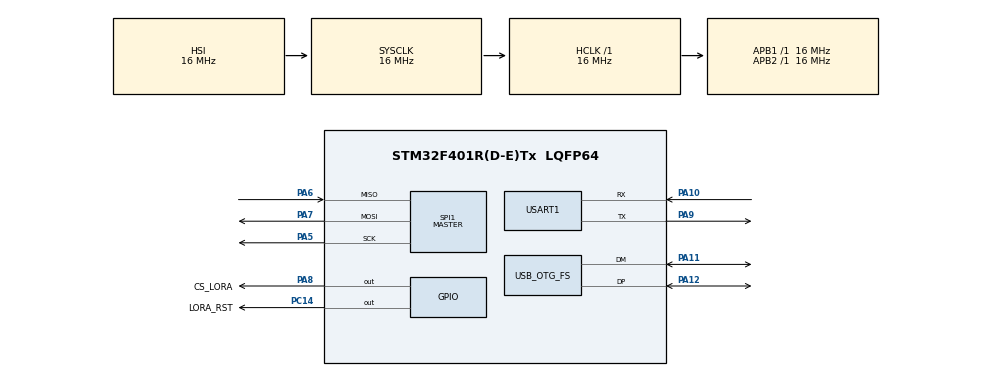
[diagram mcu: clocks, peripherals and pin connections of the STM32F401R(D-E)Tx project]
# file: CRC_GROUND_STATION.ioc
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Mcu.Family=STM32F4
Mcu.Name=STM32F401R(D-E)Tx
Mcu.Package=LQFP64
NVIC.OTG_FS_IRQn=true\:0\:0\:false\:false\:true\:false\:true\:true
NVIC.PriorityGroup=NVIC_PRIORITYGROUP_4
PA10.Mode=Asynchronous
PA10.Signal=USART1_RX
PA11.Mode=Device_Only
PA11.Signal=USB_OTG_FS_DM
PA12.Mode=Device_Only
PA12.Signal=USB_OTG_FS_DP
PA5.Mode=Full_Duplex_Master
PA5.Signal=SPI1_SCK
PA6.Mode=Full_Duplex_Master
PA6.Signal=SPI1_MISO
PA7.Mode=Full_Duplex_Master
PA7.Signal=SPI1_MOSI
PA8.GPIO_Label=CS_LORA
PA8.Signal=GPIO_Output
PA9.Mode=Asynchronous
PA9.Signal=USART1_TX
PC14-OSC32_IN.GPIO_Label=LORA_RST
PC14-OSC32_IN.Signal=GPIO_Output
PH0\ -\ OSC_IN.Mode=HSE-External-Oscillator
PH0\ -\ OSC_IN.Signal=RCC_OSC_IN
PH1\ -\ OSC_OUT.Mode=HSE-External-Oscillator
PH1\ -\ OSC_OUT.Signal=RCC_OSC_OUT
ProjectManager.HeapSize=0x200
ProjectManager.StackSize=0x400
ProjectManager.TargetToolchain=CMake
RCC.48MHZClocksFreq_Value=48000000
RCC.AHBFreq_Value=16000000
RCC.APB1Freq_Value=16000000
RCC.APB2Freq_Value=16000000
RCC.CortexFreq_Value=16000000
RCC.HSE_VALUE=25000000
RCC.HSI_VALUE=16000000
RCC.LSE_VALUE=32768
RCC.PLLM=15
RCC.PLLN=144
RCC.PLLQ=5
RCC.SYSCLKFreq_VALUE=16000000
RCC.VCOOutputFreq_Value=240000000
SPI1.Direction=SPI_DIRECTION_2LINES
SPI1.Mode=SPI_MODE_MASTER
SPI1.VirtualType=VM_MASTER
USART1.VirtualMode=VM_ASYNC
USB_DEVICE.CLASS_NAME_FS=CDC
USB_DEVICE.VirtualMode-CDC_FS=Cdc
USB_DEVICE.VirtualModeFS=Cdc_FS
USB_OTG_FS.VirtualMode=Device_Only
VP_USB_DEVICE_VS_USB_DEVICE_CDC_FS.Mode=CDC_FS
board=custom

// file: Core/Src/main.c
/* USER CODE BEGIN Header */
/**
  ******************************************************************************
  * @file           : main.c
  * @brief          : Main program body
  ******************************************************************************
  * @attention
  *
  * Copyright (c) 2025 STMicroelectronics.
  * All rights reserved.
  *
  * This software is licensed under terms that can be found in the LICENSE file
  * in the root directory of this software component.
  * If no LICENSE file comes with this software, it is provided AS-IS.
  *
  ******************************************************************************
  */
/* USER CODE END Header */
#include "main.h"
#include "spi.h"
#include "usart.h"
#include "usb_device.h"
#include "gpio.h"

/* USER CODE BEGIN Includes */
#include "LoRa.h"
/* USER CODE END Includes */

/* USER CODE BEGIN PD */
#define RX_BUFFER_SIZE 64
/* USER CODE END PD */

/* USER CODE BEGIN PV */
extern UART_HandleTypeDef huart1;
extern SPI_HandleTypeDef hspi1;

LoRa lora;

char uart_rx_buffer[RX_BUFFER_SIZE];
uint8_t uart_rx_index = 0;
uint8_t uart_rx_byte;

uint8_t lora_rx_buffer[RX_BUFFER_SIZE];
uint8_t lora_rx_length = 0;
/* USER CODE END PV */

void SystemClock_Config(void);
/* USER CODE BEGIN PFP */
void Error_Handler(void);
/* USER CODE END PFP */

/* USER CODE BEGIN 0 */
void HAL_UART_RxCpltCallback(UART_HandleTypeDef *huart) {
    if (huart->Instance == USART2) {
        if (uart_rx_index < RX_BUFFER_SIZE - 1) {
            if (uart_rx_byte == '\n') {
                uart_rx_buffer[uart_rx_index++] = '\0';
                LoRa_Send(&lora, (uint8_t *)uart_rx_buffer, uart_rx_index);
                uart_rx_index = 0;
            } else {
                uart_rx_buffer[uart_rx_index++] = uart_rx_byte;
            }
        } else {
            uart_rx_index = 0;
        }

        HAL_UART_Receive_IT(&huart1, &uart_rx_byte, 1);
    }
}
/* USER CODE END 0 */

int main(void)
{

  /* MCU Configuration--------------------------------------------------------*/

  /* Reset of all peripherals, Initializes the Flash interface and the Systick. */
  HAL_Init();

  /* Configure the system clock */
  SystemClock_Config();

  /* Initialize all configured peripherals */
  MX_GPIO_Init();
  MX_SPI1_Init();
  MX_USART1_UART_Init();
  MX_USB_DEVICE_Init();
  /* USER CODE BEGIN 2 */
  lora.hspi = &hspi1;
  lora.nss_port = CS_LORA_GPIO_Port;
  lora.nss_pin = CS_LORA_Pin;
  lora.reset_port = LORA_RST_GPIO_Port;
  lora.reset_pin = LORA_RST_Pin;

  if (!LoRa_Init(&lora)) {
      Error_Handler();
  }

  LoRa_ReceiveContinuous(&lora);

  HAL_UART_Receive_IT(&huart1, &uart_rx_byte, 1);
  /* USER CODE END 2 */

  /* Infinite loop */
  /* USER CODE BEGIN WHILE */
  while (1)
  {
    lora_rx_length = LoRa_ReceivePacket(&lora, lora_rx_buffer, RX_BUFFER_SIZE);

    if (lora_rx_length > 0) {
        HAL_UART_Transmit(&huart1, lora_rx_buffer, lora_rx_length, HAL_MAX_DELAY);
        char newline[2] = "\r\n";
        HAL_UART_Transmit(&huart1, (uint8_t*)newline, 2, HAL_MAX_DELAY);
    }

    HAL_Delay(10);
  }
    /* USER CODE END WHILE */

}

void SystemClock_Config(void)
{
  RCC_OscInitTypeDef RCC_OscInitStruct = {0};
  RCC_ClkInitTypeDef RCC_ClkInitStruct = {0};

  /** Configure the main internal regulator output voltage
  */
  __HAL_RCC_PWR_CLK_ENABLE();
  __HAL_PWR_VOLTAGESCALING_CONFIG(PWR_REGULATOR_VOLTAGE_SCALE2);

  /** Initializes the RCC Oscillators according to the specified parameters
  * in the RCC_OscInitTypeDef structure.
  */
  RCC_OscInitStruct.OscillatorType = RCC_OSCILLATORTYPE_HSI|RCC_OSCILLATORTYPE_HSE;
  RCC_OscInitStruct.HSEState = RCC_HSE_ON;
  RCC_OscInitStruct.HSIState = RCC_HSI_ON;
  RCC_OscInitStruct.HSICalibrationValue = RCC_HSICALIBRATION_DEFAULT;
  RCC_OscInitStruct.PLL.PLLState = RCC_PLL_ON;
  RCC_OscInitStruct.PLL.PLLSource = RCC_PLLSOURCE_HSE;
  RCC_OscInitStruct.PLL.PLLM = 15;
  RCC_OscInitStruct.PLL.PLLN = 144;
  RCC_OscInitStruct.PLL.PLLP = RCC_PLLP_DIV2;
  RCC_OscInitStruct.PLL.PLLQ = 5;
  if (HAL_RCC_OscConfig(&RCC_OscInitStruct) != HAL_OK)
  {
    Error_Handler();
  }

  /** Initializes the CPU, AHB and APB buses clocks
  */
  RCC_ClkInitStruct.ClockType = RCC_CLOCKTYPE_HCLK|RCC_CLOCKTYPE_SYSCLK
                              |RCC_CLOCKTYPE_PCLK1|RCC_CLOCKTYPE_PCLK2;
  RCC_ClkInitStruct.SYSCLKSource = RCC_SYSCLKSOURCE_HSI;
  RCC_ClkInitStruct.AHBCLKDivider = RCC_SYSCLK_DIV1;
  RCC_ClkInitStruct.APB1CLKDivider = RCC_HCLK_DIV1;
  RCC_ClkInitStruct.APB2CLKDivider = RCC_HCLK_DIV1;

  if (HAL_RCC_ClockConfig(&RCC_ClkInitStruct, FLASH_LATENCY_0) != HAL_OK)
  {
    Error_Handler();
  }
}

void Error_Handler(void)
{
  __disable_irq();
  while (1)
  {
  }
}
